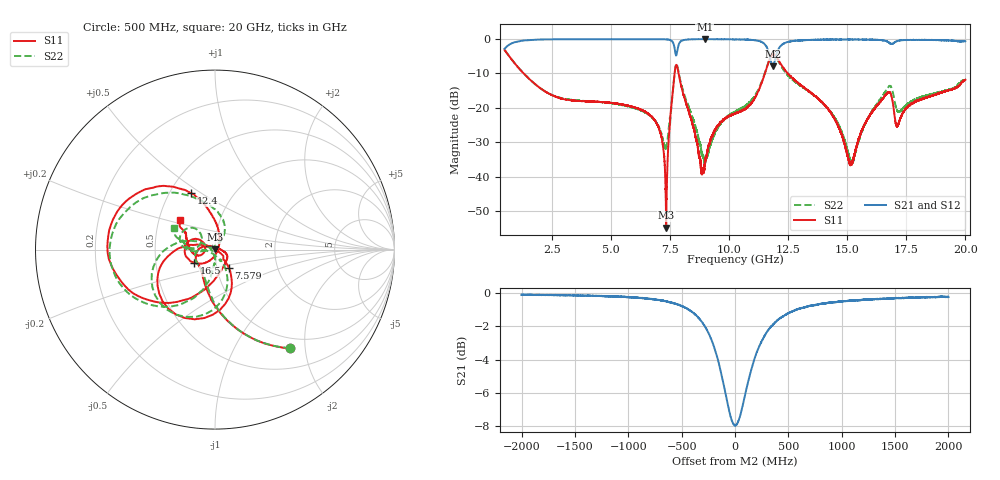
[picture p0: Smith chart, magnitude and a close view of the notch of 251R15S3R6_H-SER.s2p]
!{251R15S3R6}
!Johanson Technology Inc.
!www.johansontechnology.com
!Test Board Conditions:
!Substrate Type  RO4350B
!Substrate Thickness  20 mil
!Substrate Dk  3.66
!TL Type: GCPW
!TL Trace Width  34 mil
!TL Gap  10 mil
!Electrode orientation  Horizontal
!DUT TOPOLOGY	SERIES
!Mounting Pad LxW  26x52 mil
! Created Thu Mar 12 16:40:34 2020
# mhz S ma R 50
! 2 Port Network Data from SP1.SP block
! freq  magS11  angS11  magS21  angS21  magS12  angS12  magS22  angS22
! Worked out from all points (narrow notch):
!   19501 points, 500 MHz to 20 GHz, reference 50 ohm
!   highest |S21| = -0.04 dB at 8.966 GHz (marker M1); lowest = -8.0 dB at 11.85 GHz (marker M2)
!   notch at M2: 7.8 dB deep, 334 MHz wide at half that depth
!   lowest |S11| = -54.7 dB at 7.337 GHz (marker M3), VSWR 1.00, Z = 50.1 + j0.166 ohm
!   |S11| at or under -10 dB: 1.305 GHz to 7.692 GHz (6.388 GHz wide, 142 % of centre); 7.866 GHz to 11.51 GHz (3.648 GHz wide, 37.6 % of centre); 12.48 GHz to end of sweep (the widest 3 of 4)
!   |S22| runs from -36.1 to -3.2 dB; largest |S21 - S12| = 0.017
!   S11 on the Smith chart (normalised r, x): 500 MHz: 0.82, -1.72; 7.579 GHz: 1.14, -0.24; 12.4 GHz: 0.64, +0.45; 16.5 GHz: 0.79, -0.12; 20 GHz: 0.64, +0.22
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500  0.691 -52.6  0.7189 37.1  0.7197 37.2  0.6914 -52.5
1537  0.2639 -96.1  0.9644 -5.2  0.9639 -5.3  0.2643 -94.3
3750  0.1256 -136.8  0.9897 -48.6  0.9902 -48.7  0.1269 -138.8
7000  0.05364 161.1  0.9925 -102.4  0.9919 -102.4  0.05506 -177.1
7337  0.001837 64.5  0.9857 -110.0  0.985 -110.1  0.02676 -110.4
7579  0.1296 -53.2  0.9328 -119.9  0.9338 -120.0  0.124 -61.9
7812  0.3887 -144.5  0.6936 -98.4  0.6952 -98.3  0.4006 -151.7
8037  0.1711 174.1  0.9538 -108.3  0.9552 -108.3  0.1844 165.6
8966  0.01444 26.9  0.9949 -129.0  0.9936 -129.0  0.01727 -145.0
9432  0.04905 -12.0  0.9909 -137.2  0.9924 -137.2  0.0464 -91.1
10250  0.08291 -34.7  0.9842 -152.0  0.9848 -152.0  0.08726 -93.0
11336  0.213 -101.2  0.9153 -179.3  0.9165 -179.3  0.2205 -105.5
11648  0.4403 -138.5  0.6902 165.0  0.6898 165.1  0.4388 -133.7
11845  0.5994 179.4  0.4001 -174.0  0.4014 -174.3  0.5865 -173.9
12399  0.3413 113.2  0.886 -165.6  0.8834 -166.0  0.3243 113.7
13500  0.1612 90.0  0.9683 168.4  0.9654 168.5  0.1603 72.6
14514  0.06357 66.9  0.9798 150.1  0.9796 150.2  0.06784 56.2
15154  0.01532 -19.4  0.978 139.0  0.9844 139.0  0.01698 110.1
16503  0.1367 -147.6  0.9541 114.2  0.9514 114.1  0.1506 -179.5
16750  0.169 -174.7  0.8945 109.5  0.8888 109.3  0.2033 164.4
17128  0.0549 -178.3  0.9382 111.2  0.9348 111.1  0.08934 147.5
20000  0.2559 140.2  0.9274 56.8  0.9276 56.9  0.257 151.6
